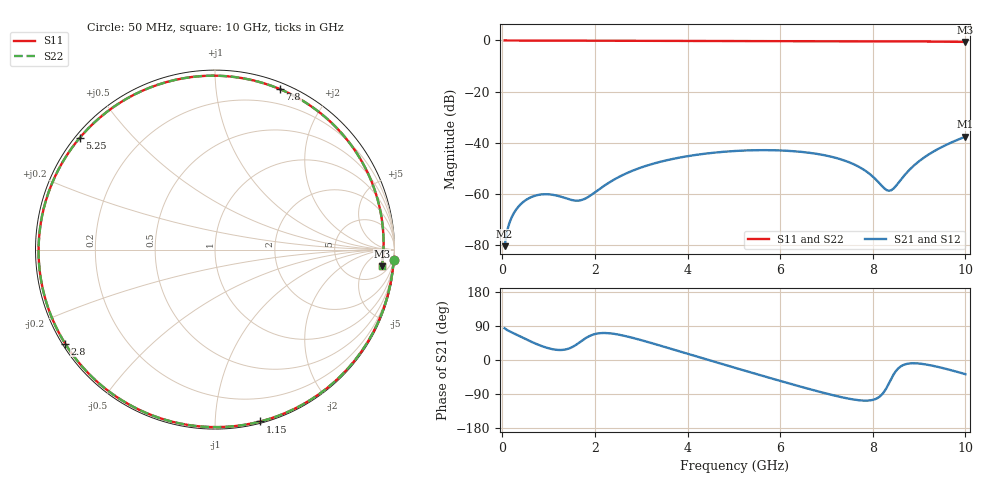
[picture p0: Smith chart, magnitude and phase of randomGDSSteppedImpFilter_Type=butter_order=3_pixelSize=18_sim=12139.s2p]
! freq	dB(S11)	phase(S11)	dB(S12)	phase(S12)
!  dB(S21)	phase(S21)	dB(S22)	phase(S22)
!S-par simulation data
#  GHz  S  DB  R 50
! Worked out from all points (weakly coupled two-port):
!   200 points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, 50 MHz to 10 GHz, reference 50 ohm
!   highest |S21| = -37.61 dB at 10 GHz (marker M1); lowest = -80.4 dB at 50 MHz (marker M2)
!   lowest |S11| = -0.6 dB at 10 GHz (marker M3), VSWR 29.58, Z = 470 - j687 ohm
!   |S11| at or under -10 dB: nowhere
!   |S22| runs from -0.6 to 0.0 dB; largest |S21 - S12| = 0
!   S11 on the Smith chart (normalised r, x): 50 MHz: 1, -34; 1.15 GHz: 0.01, -1.30; 2.8 GHz: 0.01, -0.29; 5.25 GHz: 0.01, +0.36; 7.8 GHz: 0.06, +1.48; 10 GHz: 9, -14
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0.05  -0.02 -3.4  -80.39 83.8  -80.39 83.8  -0.02 -3.4
0.1  -0.03 -6.9  -74.72 79.4  -74.72 79.4  -0.03 -6.9
0.15  -0.04 -10.5  -71.49 76.1  -71.49 76.1  -0.04 -10.5
0.25  -0.04 -17.5  -67.47 70.2  -67.47 70.2  -0.04 -17.5
0.4  -0.05 -27.9  -63.96 61.3  -63.96 61.3  -0.05 -27.9
0.75  -0.06 -51.1  -60.47 41.6  -60.47 41.6  -0.06 -51.1
1.15  -0.08 -75.2  -60.52 27.2  -60.52 27.2  -0.08 -75.2
1.55  -0.10 -96.4  -62.53 36.8  -62.53 36.8  -0.10 -96.4
1.75  -0.11 -106.0  -62.13 53.6  -62.13 53.6  -0.11 -106.0
2.25  -0.12 -127.5  -56.19 71.1  -56.19 71.1  -0.12 -127.5
2.8  -0.13 -147.9  -51.00 58.9  -51.00 58.9  -0.13 -147.9
3.4  -0.14 -167.4  -47.48 38.4  -47.48 38.4  -0.14 -167.4
4.2  -0.16 169.2  -44.68 9.2  -44.68 9.2  -0.16 169.2
5.05  -0.19 145.9  -43.18 -21.5  -43.18 -21.5  -0.19 145.9
5.25  -0.20 140.5  -43.01 -28.7  -43.01 -28.7  -0.20 140.5
6  -0.23 120.1  -42.99 -55.1  -42.99 -55.1  -0.23 120.2
6.7  -0.26 100.6  -44.08 -79.0  -44.08 -79.0  -0.26 100.6
7.35  -0.29 81.6  -46.70 -98.8  -46.70 -98.8  -0.29 81.6
7.8  -0.31 67.9  -50.45 -107.1  -50.45 -107.1  -0.31 68.0
8.35  -0.35 50.5  -58.74 -61.2  -58.74 -61.2  -0.35 50.6
9.1  -0.43 25.7  -45.85 -10.9  -45.85 -10.9  -0.43 25.7
10  -0.59 -5.7  -37.61 -37.4  -37.61 -37.4  -0.59 -5.7
